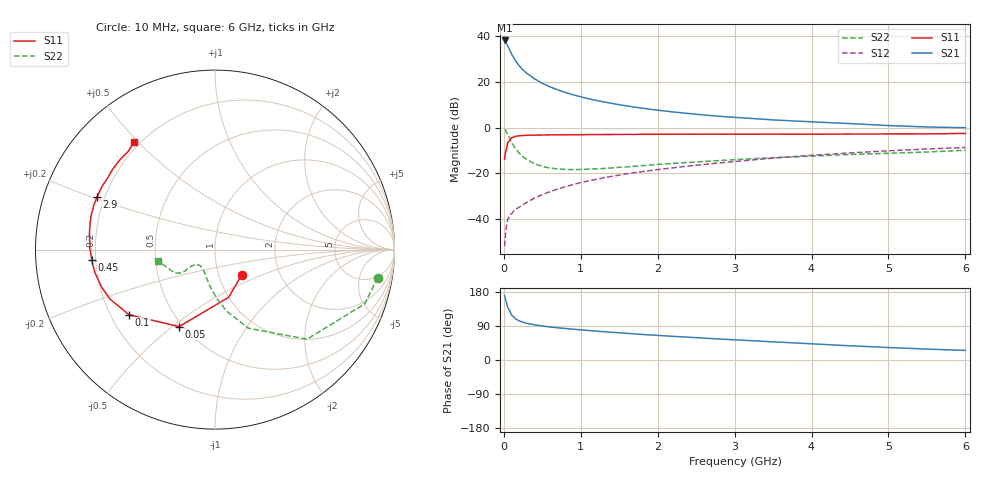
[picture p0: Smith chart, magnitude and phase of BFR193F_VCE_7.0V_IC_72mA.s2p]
! Infineon Technologies  Discrete & RF Semiconductors
! BFR193F
! VCE =  7.0 V,  IC =  72 mA
! Common Emitter S-Parameters:  Jan 2017
# GHz  S  MA  R  50
!  f  S11  S21  S12  S22
! GHz  MAG  ANG  MAG  ANG  MAG  ANG  MAG  ANG
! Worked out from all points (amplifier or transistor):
!   77 points, 10 MHz to 6 GHz, reference 50 ohm
!   highest |S21| = 38.0 dB at 10 MHz (marker M1)
!   |S21| within 3 dB of that: start of sweep to 60.31 MHz
!   unconditionally stable (mu >= 1): 721 MHz to 2.451 GHz
!   at 130 MHz: K = 0.54, MSG = 33.4 dB, |S12| = -36.4 dB
!   at 2.2 GHz: K = 1.02, MAG = 11.3 dB, |S12| = -17.5 dB
!   at 6 GHz: K = 0.85, MSG = 4.3 dB, |S12| = -8.7 dB
!   S11 on the Smith chart (normalised r, x): 10 MHz: 1.28, -0.38; 50 MHz: 0.48, -0.53; 100 MHz: 0.28, -0.31; 450 MHz: 0.19, -0.04; 2.9 GHz: 0.17, +0.21; 6 GHz: 0.18, +0.48
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0.01  0.2056 -43.8  79.65 170.1  0.0026 84.9  0.9199 -9.8
0.02  0.2766 -74.2  76.36 160.4  0.0044 75.9  0.8876 -19.9
0.05  0.4732 -115.0  61.09 138.4  0.01 61.7  0.7159 -44.2
0.1  0.6007 -142.8  40.35 118.5  0.0133 52.9  0.4762 -67.0
0.15  0.6468 -154.8  28.97 109.0  0.0164 53.3  0.3489 -79.3
0.2  0.6654 -161.6  22.36 103.2  0.0185 56.0  0.278 -87.1
0.25  0.6739 -166.3  18.1 99.5  0.021 59.5  0.2293 -93.7
0.3  0.6809 -169.1  15.24 96.8  0.0235 61.3  0.2012 -98.8
0.4  0.6872 -173.6  11.52 92.6  0.0291 65.6  0.1627 -107.1
0.45  0.6882 -175.1  10.39 91.3  0.0318 67.0  0.1525 -110.1
0.5  0.6897 -176.5  9.266 89.7  0.0346 68.2  0.1428 -113.6
0.6  0.6939 -178.9  7.758 87.2  0.0402 70.3  0.1311 -119.2
0.7  0.6984 178.9  6.671 85.0  0.0458 72.1  0.126 -123.5
0.9  0.701 175.5  5.208 81.3  0.0575 73.5  0.1216 -131.0
1.1  0.7048 172.9  4.28 77.9  0.069 74.6  0.1246 -135.6
1.5  0.711 168.4  3.166 71.8  0.0921 75.2  0.1368 -141.7
2.1  0.7164 162.7  2.3 63.7  0.1272 74.9  0.1615 -144.9
2.9  0.7195 155.9  1.722 54.3  0.1758 73.3  0.1958 -144.9
3.1  0.72 154.3  1.634 52.2  0.1886 72.8  0.2042 -144.5
4.1  0.7198 145.5  1.315 41.7  0.2553 68.6  0.243 -147.4
5.1  0.7289 135.6  1.093 32.0  0.3179 62.9  0.2792 -157.7
6  0.7488 127.1  0.997 25.3  0.3689 57.6  0.3217 -168.2
